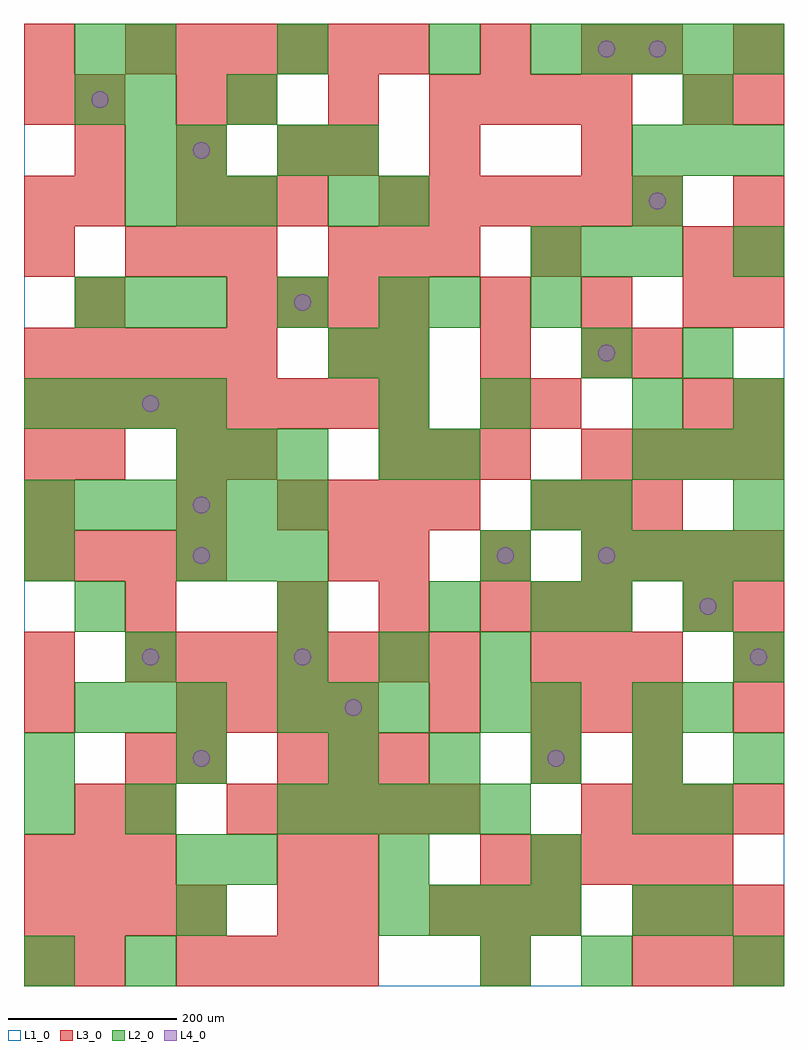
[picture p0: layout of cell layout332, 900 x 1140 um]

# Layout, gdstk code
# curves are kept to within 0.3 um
import gdstk
lib = gdstk.Library(unit=1e-6, precision=1e-09)
def R(c, l, rs):  # rectangles x0, y0, x1, y1
    for r in rs: c.add(gdstk.rectangle(r[:2], r[2:], *l))
def A(c, l, x, y, w, h, nx, ny, dx, dy):  # array of equal rectangles
    R(c, l, [(x+i*dx, y+j*dy, x+i*dx+w, y+j*dy+h) for i in range(nx) for j in range(ny)])
def P(c, l, *ps):  # polygons
    for p in ps: c.add(gdstk.Polygon(p, *l))
L1_0 = (1, 0)
L2_0 = (2, 0)
L3_0 = (3, 0)
L4_0 = (4, 0)

layout332 = lib.new_cell('layout332')
R(layout332, L1_0, [(0,0,900,1140)])
A(layout332, L2_0, 120, 0, 60, 60, 1, 3, 0, 180)
A(layout332, L2_0, 420, 60, 60, 60, 4, 1, 60, 0)
A(layout332, L2_0, 720, 60, 60, 60, 1, 3, 0, 120)
A(layout332, L2_0, 780, 60, 60, 60, 1, 4, 0, 120)
A(layout332, L2_0, 240, 120, 60, 60, 3, 1, 180, 0)
A(layout332, L2_0, 300, 180, 60, 60, 5, 1, 60, 0)
A(layout332, L2_0, 0, 240, 60, 60, 3, 1, 180, 0)
A(layout332, L2_0, 480, 240, 60, 60, 4, 1, 120, 0)
A(layout332, L2_0, 60, 300, 60, 60, 3, 2, 60, 480)
A(layout332, L2_0, 300, 300, 60, 60, 3, 1, 60, 0)
A(layout332, L2_0, 540, 300, 60, 60, 1, 3, 0, 180)
A(layout332, L2_0, 600, 300, 60, 60, 1, 3, 0, 120)
A(layout332, L2_0, 300, 360, 60, 60, 3, 1, 120, 0)
A(layout332, L2_0, 480, 420, 60, 60, 1, 3, 0, 180)
A(layout332, L2_0, 180, 480, 60, 60, 3, 2, 60, 120)
A(layout332, L2_0, 660, 480, 60, 60, 4, 1, 60, 0)
A(layout332, L2_0, 0, 540, 60, 60, 6, 1, 60, 0)
A(layout332, L2_0, 420, 600, 60, 60, 1, 4, 0, 60)
A(layout332, L2_0, 720, 600, 60, 60, 3, 2, 60, 360)
A(layout332, L2_0, 0, 660, 60, 60, 4, 1, 60, 0)
A(layout332, L2_0, 600, 840, 60, 60, 3, 1, 60, 0)
A(layout332, L2_0, 120, 900, 60, 60, 3, 1, 60, 0)
A(layout332, L2_0, 120, 1080, 60, 60, 3, 1, 180, 0)
A(layout332, L2_0, 600, 1080, 60, 60, 5, 1, 60, 0)
R(layout332, L2_0, [(0,0,60,60), (540,0,600,60), (660,0,720,60), (840,0,900,60), (180,60,240,120), (180,120,240,180), (0,180,60,240), (840,360,900,420), (60,420,120,480), (300,420,360,480), (660,420,720,480), (0,480,60,540), (660,540,720,600), (840,540,900,600), (720,660,780,720), (840,660,900,720), (360,720,420,780), (660,720,720,780), (780,720,840,780), (300,780,360,840), (600,780,660,840), (840,840,900,900), (360,900,420,960), (420,900,480,960), (720,900,780,960), (120,960,180,1020), (180,960,240,1020), (300,960,360,1020), (360,960,420,1020), (60,1020,120,1080), (120,1020,180,1080), (240,1020,300,1080), (780,1020,840,1080), (60,1080,120,1140)])
A(layout332, L3_0, 180, 0, 60, 60, 4, 2, 60, 300)
A(layout332, L3_0, 720, 0, 60, 60, 3, 2, 60, 60)
A(layout332, L3_0, 0, 60, 60, 60, 4, 2, 60, 420)
A(layout332, L3_0, 480, 60, 60, 60, 3, 1, 60, 0)
A(layout332, L3_0, 0, 120, 60, 60, 3, 1, 60, 0)
A(layout332, L3_0, 540, 120, 60, 60, 5, 1, 60, 0)
A(layout332, L3_0, 240, 180, 60, 60, 5, 1, 60, 0)
A(layout332, L3_0, 660, 180, 60, 60, 4, 2, 60, 420)
A(layout332, L3_0, 300, 240, 60, 60, 3, 1, 60, 0)
A(layout332, L3_0, 600, 300, 60, 60, 3, 2, 60, 60)
A(layout332, L3_0, 840, 300, 60, 60, 1, 3, 0, 60)
A(layout332, L3_0, 120, 360, 60, 60, 7, 1, 60, 0)
A(layout332, L3_0, 300, 420, 60, 60, 3, 1, 120, 0)
A(layout332, L3_0, 360, 480, 60, 60, 1, 3, 0, 240)
A(layout332, L3_0, 420, 480, 60, 60, 3, 2, 120, 240)
A(layout332, L3_0, 720, 480, 60, 60, 3, 1, 60, 0)
A(layout332, L3_0, 300, 540, 60, 60, 4, 1, 60, 0)
A(layout332, L3_0, 600, 540, 60, 60, 3, 1, 60, 0)
A(layout332, L3_0, 420, 600, 60, 60, 3, 1, 60, 0)
A(layout332, L3_0, 0, 660, 60, 60, 8, 1, 60, 0)
A(layout332, L3_0, 780, 660, 60, 60, 1, 3, 0, 180)
A(layout332, L3_0, 0, 720, 60, 60, 5, 1, 60, 0)
A(layout332, L3_0, 60, 780, 60, 60, 1, 3, 0, 120)
A(layout332, L3_0, 240, 780, 60, 60, 4, 1, 60, 0)
A(layout332, L3_0, 540, 780, 60, 60, 3, 1, 120, 0)
A(layout332, L3_0, 840, 780, 60, 60, 1, 3, 0, 60)
A(layout332, L3_0, 120, 840, 60, 60, 3, 1, 60, 0)
A(layout332, L3_0, 360, 840, 60, 60, 3, 1, 60, 0)
A(layout332, L3_0, 180, 900, 60, 60, 3, 1, 60, 0)
A(layout332, L3_0, 420, 900, 60, 60, 6, 1, 60, 0)
A(layout332, L3_0, 60, 960, 60, 60, 3, 1, 120, 0)
A(layout332, L3_0, 240, 1020, 60, 60, 3, 1, 120, 0)
A(layout332, L3_0, 540, 1020, 60, 60, 3, 1, 60, 0)
A(layout332, L3_0, 120, 1080, 60, 60, 6, 1, 60, 0)
R(layout332, L3_0, [(0,0,60,60), (60,0,120,60), (540,0,600,60), (300,60,360,120), (360,60,420,120), (300,120,360,180), (360,120,420,180), (60,180,120,240), (120,180,180,240), (120,240,180,300), (180,240,240,300), (600,240,660,300), (720,240,780,300), (0,300,60,360), (480,300,540,360), (0,360,60,420), (120,420,180,480), (600,420,660,480), (660,420,720,480), (780,420,840,480), (0,540,60,600), (180,540,240,600), (0,600,60,660), (60,600,120,660), (180,600,240,660), (240,600,300,660), (540,660,600,720), (600,660,660,720), (840,660,900,720), (720,720,780,780), (0,840,60,900), (600,840,660,900), (0,900,60,960), (480,960,540,1020), (660,960,720,1020), (0,1020,60,1080), (180,1020,240,1080), (840,1020,900,1080), (0,1080,60,1140), (540,1080,600,1140), (660,1080,720,1140), (720,1080,780,1140), (840,1080,900,1140)])
P(layout332, L4_0, [(100,1050),(99.239,1053.827),(97.071,1057.071),(93.827,1059.239),(90,1060),(86.173,1059.239),(82.929,1057.071),(80.761,1053.827),(80,1050),(80.761,1046.173),(82.929,1042.929),(86.173,1040.761),(90,1040),(93.827,1040.761),(97.071,1042.929),(99.239,1046.173)],
  [(160,390),(159.239,393.827),(157.071,397.071),(153.827,399.239),(150,400),(146.173,399.239),(142.929,397.071),(140.761,393.827),(140,390),(140.761,386.173),(142.929,382.929),(146.173,380.761),(150,380),(153.827,380.761),(157.071,382.929),(159.239,386.173)],
  [(160,690),(159.239,693.827),(157.071,697.071),(153.827,699.239),(150,700),(146.173,699.239),(142.929,697.071),(140.761,693.827),(140,690),(140.761,686.173),(142.929,682.929),(146.173,680.761),(150,680),(153.827,680.761),(157.071,682.929),(159.239,686.173)],
  [(220,270),(219.239,273.827),(217.071,277.071),(213.827,279.239),(210,280),(206.173,279.239),(202.929,277.071),(200.761,273.827),(200,270),(200.761,266.173),(202.929,262.929),(206.173,260.761),(210,260),(213.827,260.761),(217.071,262.929),(219.239,266.173)],
  [(220,510),(219.239,513.827),(217.071,517.071),(213.827,519.239),(210,520),(206.173,519.239),(202.929,517.071),(200.761,513.827),(200,510),(200.761,506.173),(202.929,502.929),(206.173,500.761),(210,500),(213.827,500.761),(217.071,502.929),(219.239,506.173)],
  [(220,570),(219.239,573.827),(217.071,577.071),(213.827,579.239),(210,580),(206.173,579.239),(202.929,577.071),(200.761,573.827),(200,570),(200.761,566.173),(202.929,562.929),(206.173,560.761),(210,560),(213.827,560.761),(217.071,562.929),(219.239,566.173)],
  [(220,990),(219.239,993.827),(217.071,997.071),(213.827,999.239),(210,1000),(206.173,999.239),(202.929,997.071),(200.761,993.827),(200,990),(200.761,986.173),(202.929,982.929),(206.173,980.761),(210,980),(213.827,980.761),(217.071,982.929),(219.239,986.173)],
  [(340,390),(339.239,393.827),(337.071,397.071),(333.827,399.239),(330,400),(326.173,399.239),(322.929,397.071),(320.761,393.827),(320,390),(320.761,386.173),(322.929,382.929),(326.173,380.761),(330,380),(333.827,380.761),(337.071,382.929),(339.239,386.173)],
  [(340,810),(339.239,813.827),(337.071,817.071),(333.827,819.239),(330,820),(326.173,819.239),(322.929,817.071),(320.761,813.827),(320,810),(320.761,806.173),(322.929,802.929),(326.173,800.761),(330,800),(333.827,800.761),(337.071,802.929),(339.239,806.173)],
  [(400,330),(399.239,333.827),(397.071,337.071),(393.827,339.239),(390,340),(386.173,339.239),(382.929,337.071),(380.761,333.827),(380,330),(380.761,326.173),(382.929,322.929),(386.173,320.761),(390,320),(393.827,320.761),(397.071,322.929),(399.239,326.173)],
  [(580,510),(579.239,513.827),(577.071,517.071),(573.827,519.239),(570,520),(566.173,519.239),(562.929,517.071),(560.761,513.827),(560,510),(560.761,506.173),(562.929,502.929),(566.173,500.761),(570,500),(573.827,500.761),(577.071,502.929),(579.239,506.173)],
  [(640,270),(639.239,273.827),(637.071,277.071),(633.827,279.239),(630,280),(626.173,279.239),(622.929,277.071),(620.761,273.827),(620,270),(620.761,266.173),(622.929,262.929),(626.173,260.761),(630,260),(633.827,260.761),(637.071,262.929),(639.239,266.173)],
  [(700,510),(699.239,513.827),(697.071,517.071),(693.827,519.239),(690,520),(686.173,519.239),(682.929,517.071),(680.761,513.827),(680,510),(680.761,506.173),(682.929,502.929),(686.173,500.761),(690,500),(693.827,500.761),(697.071,502.929),(699.239,506.173)],
  [(700,750),(699.239,753.827),(697.071,757.071),(693.827,759.239),(690,760),(686.173,759.239),(682.929,757.071),(680.761,753.827),(680,750),(680.761,746.173),(682.929,742.929),(686.173,740.761),(690,740),(693.827,740.761),(697.071,742.929),(699.239,746.173)],
  [(700,1110),(699.239,1113.827),(697.071,1117.071),(693.827,1119.239),(690,1120),(686.173,1119.239),(682.929,1117.071),(680.761,1113.827),(680,1110),(680.761,1106.173),(682.929,1102.929),(686.173,1100.761),(690,1100),(693.827,1100.761),(697.071,1102.929),(699.239,1106.173)],
  [(760,930),(759.239,933.827),(757.071,937.071),(753.827,939.239),(750,940),(746.173,939.239),(742.929,937.071),(740.761,933.827),(740,930),(740.761,926.173),(742.929,922.929),(746.173,920.761),(750,920),(753.827,920.761),(757.071,922.929),(759.239,926.173)],
  [(760,1110),(759.239,1113.827),(757.071,1117.071),(753.827,1119.239),(750,1120),(746.173,1119.239),(742.929,1117.071),(740.761,1113.827),(740,1110),(740.761,1106.173),(742.929,1102.929),(746.173,1100.761),(750,1100),(753.827,1100.761),(757.071,1102.929),(759.239,1106.173)],
  [(820,450),(819.239,453.827),(817.071,457.071),(813.827,459.239),(810,460),(806.173,459.239),(802.929,457.071),(800.761,453.827),(800,450),(800.761,446.173),(802.929,442.929),(806.173,440.761),(810,440),(813.827,440.761),(817.071,442.929),(819.239,446.173)],
  [(880,390),(879.239,393.827),(877.071,397.071),(873.827,399.239),(870,400),(866.173,399.239),(862.929,397.071),(860.761,393.827),(860,390),(860.761,386.173),(862.929,382.929),(866.173,380.761),(870,380),(873.827,380.761),(877.071,382.929),(879.239,386.173)])

lib.write_gds('layout332.gds')
